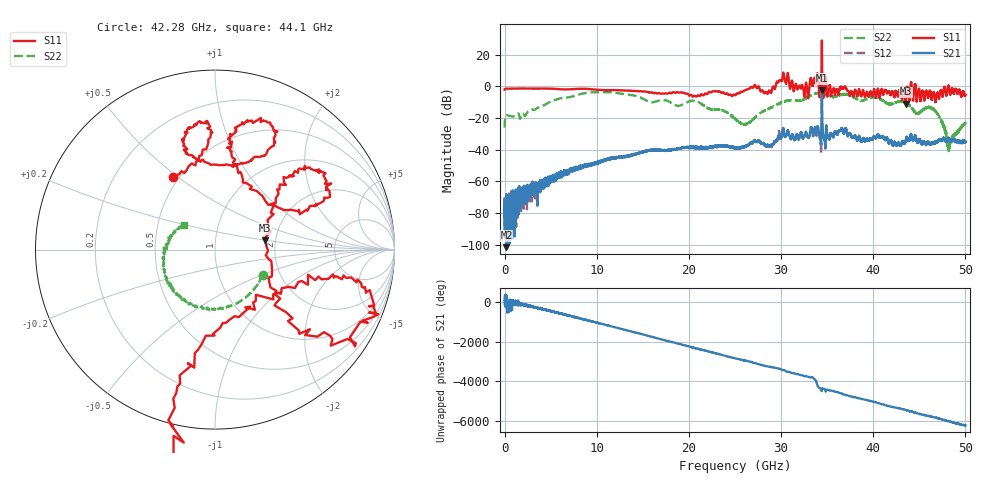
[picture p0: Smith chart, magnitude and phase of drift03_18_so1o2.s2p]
!Created with skrf (http://scikit-rf.org).
# Hz S RI R 50.0
!freq ReS11 ImS11 ReS21 ImS21 ReS12 ImS12 ReS22 ImS22
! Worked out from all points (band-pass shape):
!   10000 points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, 5.3 MHz to 50 GHz, reference 50 ohm
!   highest |S21| = -2.51 dB at 34.43 GHz (marker M1); lowest = -101.6 dB at 210.3 MHz (marker M2)
!   |S21| within 3 dB of the highest: 34.4276 GHz to 34.43475 GHz (7.156 MHz wide, 0.0208 % of centre)
!   lowest |S11| = -11.0 dB at 43.52 GHz (marker M3), VSWR 1.79, Z = 87.8 + j9.96 ohm
!   |S11| at or under -10 dB: 43.50619 GHz to 43.53861 GHz (32.43 MHz wide, 0.0745 % of centre)
!   |S22| runs from -41.8 to -3.6 dB; largest |S21 - S12| = 0.23
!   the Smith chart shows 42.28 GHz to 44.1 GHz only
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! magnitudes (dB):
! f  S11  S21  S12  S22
! 5.3 MHz  -2.1  -81.5  -81.3  -26.0
! 210.3 MHz  -1.4  -101.6  -75.6  -18.3
! 3.08 GHz  -1.4  -63.8  -65.0  -14.7
! 8.34 GHz  -1.5  -50.4  -50.1  -4.7
! 16.67 GHz  -4.4  -40.2  -40.1  -9.1
! 20.72 GHz  -6.2  -38.6  -38.6  -9.3
! 25.01 GHz  -5.5  -39.1  -38.9  -20.6
! 26.27 GHz  -2.1  -37.4  -37.8  -23.7
! 28.72 GHz  -2.5  -37.6  -37.6  -14.0
! 30.14 GHz  4.4  -29.5  -29.8  -10.0
! 32.74 GHz  2.0  -29.6  -29.1  -7.4
! 33.34 GHz  2.5  -27.5  -27.7  -5.3
! 33.82 GHz  4.0  -29.1  -29.4  -4.3
! 34.43 GHz  29.0  -2.5  -4.5  -4.0
! 36.48 GHz  -0.3  -28.0  -27.9  -5.3
! 41.67 GHz  -3.2  -35.8  -35.5  -11.0
! 43.52 GHz  -11.0  -34.3  -34.7  -10.4
! 44.74 GHz  -8.6  -34.6  -34.2  -17.2
! 46.67 GHz  -5.8  -35.2  -35.8  -14.9
! 47.5 GHz  -5.9  -33.6  -34.0  -23.2
! 48.22 GHz  -0.5  -32.9  -33.0  -38.4
! 50 GHz  -5.3  -35.0  -35.3  -23.4
